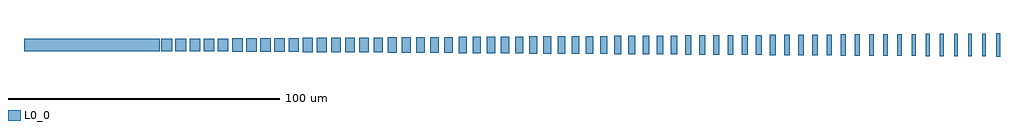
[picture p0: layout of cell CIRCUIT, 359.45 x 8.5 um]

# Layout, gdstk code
import gdstk
lib = gdstk.Library(unit=1e-6, precision=1e-09)
def R(c, l, rs):  # rectangles x0, y0, x1, y1
    for r in rs: c.add(gdstk.rectangle(r[:2], r[2:], *l))
L0_0 = (0, 0)

circuit = lib.new_cell('CIRCUIT')
R(circuit, L0_0, [(358.156,195.75,359.454,204.25), (352.942,195.784,354.288,204.216), (347.729,195.818,349.121,204.182), (342.515,195.852,343.955,204.148), (337.301,195.886,338.789,204.114), (332.087,195.919,333.623,204.081), (326.874,195.953,328.456,204.047), (321.66,195.987,323.29,204.013), (316.446,196.021,318.124,203.979), (311.232,196.055,312.958,203.945), (306.019,196.089,307.791,203.911), (300.805,196.123,302.625,203.877), (295.591,196.157,297.459,203.843), (290.377,196.191,292.293,203.809), (285.164,196.225,287.126,203.775), (279.95,196.258,281.96,203.742), (274.736,196.292,276.794,203.708), (269.522,196.326,271.628,203.674), (264.309,196.36,266.461,203.64), (259.095,196.394,261.295,203.606), (253.881,196.428,256.129,203.572), (248.667,196.462,250.963,203.538), (243.454,196.496,245.796,203.504), (238.24,196.53,240.63,203.47), (233.026,196.564,235.464,203.436), (227.812,196.597,230.298,203.403), (222.599,196.631,225.131,203.369), (217.385,196.665,219.965,203.335), (212.171,196.699,214.799,203.301), (206.957,196.733,209.633,203.267), (201.744,196.767,204.466,203.233), (196.53,196.801,199.3,203.199), (191.316,196.835,194.134,203.165), (186.102,196.869,188.968,203.131), (180.889,196.903,183.801,203.097), (175.675,196.936,178.635,203.064), (170.461,196.97,173.469,203.03), (165.247,197.004,168.303,202.996), (160.034,197.038,163.136,202.962), (154.82,197.072,157.97,202.928), (149.606,197.106,152.804,202.894), (144.392,197.14,147.638,202.86), (139.179,197.174,142.471,202.826), (133.965,197.208,137.305,202.792), (128.751,197.242,132.139,202.758), (123.537,197.275,126.973,202.725), (118.324,197.309,121.806,202.691), (113.11,197.343,116.64,202.657), (107.896,197.377,111.474,202.623), (102.682,197.411,106.308,202.589), (97.469,197.445,101.141,202.555), (92.255,197.479,95.975,202.521), (87.041,197.513,90.809,202.487), (81.827,197.547,85.643,202.453), (76.614,197.581,80.476,202.419), (71.4,197.614,75.31,202.386), (66.186,197.648,70.144,202.352), (60.972,197.682,64.978,202.318), (55.759,197.716,59.811,202.284), (0,197.75,50,202.25), (50.545,197.75,54.645,202.25)])

lib.write_gds('CIRCUIT.gds')
